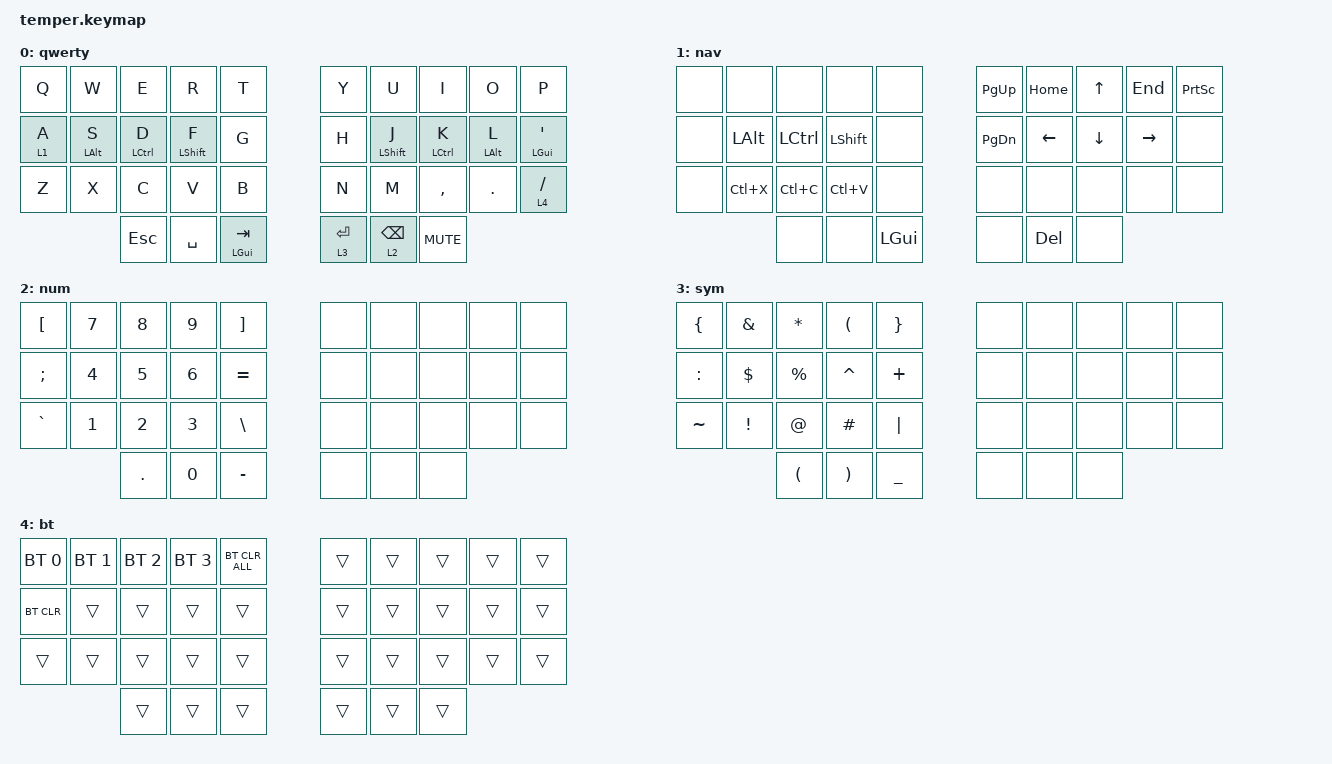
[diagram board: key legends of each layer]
/*
 * Copyright (c) 2020 The ZMK Contributors
 *
 * SPDX-License-Identifier: MIT
 */

 #include <behaviors.dtsi>
 #include <dt-bindings/zmk/keys.h>
 #include <dt-bindings/zmk/bt.h>
 #include <dt-bindings/zmk/outputs.h>
 
 #define QWERTY  0
 #define BT      1
 #define NUM     2
 #define NAV     3
 #define SYM     4
 
 # define ______ &trans
 
 / {
     /* (Conditional layers removed or adjusted as desired.
        The original first layout did not include conditional layers.) */
 
     behaviors {
         /* Behaviors from your first keymap, without labels */
         hm: homerow_mods {
             compatible = "zmk,behavior-hold-tap";
             #binding-cells = <2>;
             tapping-term-ms = <200>;
             quick-tap-ms = <0>;
             flavor = "balanced";
             bindings = <&kp>, <&kp>;
         };
 
         hmn: homerow_nav {
             compatible = "zmk,behavior-hold-tap";
             #binding-cells = <2>;
             tapping-term-ms = <200>;
             quick-tap-ms = <0>;
             flavor = "balanced";
             bindings = <&mo>, <&kp>;
         };
     };
 
     keymap {
         compatible = "zmk,keymap";
 
         qwerty {
             bindings = <
                 // Row 1: 10 keys (left 5 | right 5)
                 &kp Q         &kp W         &kp E         &kp R         &kp T             &kp Y         &kp U         &kp I         &kp O         &kp P
                 // Row 2: 10 keys
                 &hmn 1 A    &hm LALT S    &hm LCTRL D   &hm LSHFT F   &kp G             &kp H         &hm LSHFT J   &hm LCTRL K   &hm LALT L   &hm LGUI SQT
                 // Row 3: 10 keys
                 &kp Z       &kp X         &kp C         &kp V         &kp B             &kp N         &kp M         &kp COMMA    &kp DOT     &lt 4 FSLH
                 // Bottom row: 6 keys
                             &kp ESC      &kp SPACE     &mt LEFT_GUI TAB  &lt 3 ENTER   &lt 2 BACKSPACE  &kp K_MUTE
             >;
         };
 
         nav {
             bindings = <
                 // Row 1: 10 keys
                 &none       &none         &none         &none          &none         &kp PG_UP    &kp HOME    &kp UP      &kp END     &kp PRINTSCREEN
                 // Row 2: 10 keys
                 &none       &kp LEFT_ALT   &kp LCTRL     &kp LEFT_SHIFT  &none        &kp PG_DN    &kp LEFT    &kp DOWN   &kp RIGHT   &none
                 // Row 3: 10 keys
                 &none       &kp LC(X)      &kp LC(C)     &kp LC(V)       &none        &none       &none       &none      &none     &none
                 // Bottom row: 6 keys
                              &none       &none         &kp LEFT_GUI   &none       &kp DELETE   &none
             >;
         };
 
         num {
             bindings = <
                 // Row 1: 10 keys
                 &kp LBKT    &kp N7    &kp N8    &kp N9    &kp RBKT    &none    &none    &none    &none    &none
                 // Row 2: 10 keys
                 &kp SEMI    &kp N4    &kp N5    &kp N6    &kp EQUAL   &none    &none    &none    &none    &none
                 // Row 3: 10 keys
                 &kp GRAVE   &kp N1    &kp N2    &kp N3    &kp BSLH    &none    &none    &none    &none    &none
                 // Bottom row: 6 keys
                               &kp DOT    &kp N0    &kp MINUS   &none    &none    &none
             >;
         };
 
         sym {
             bindings = <
                 // Row 1: 10 keys
                 &kp LBRC    &kp AMPS    &kp STAR    &kp LPAR    &kp RBRC    &none    &none    &none    &none    &none
                 // Row 2: 10 keys
                 &kp COLON   &kp DOLLAR  &kp PRCNT   &kp CARET   &kp PLUS    &none    &none    &none    &none    &none
                 // Row 3: 10 keys
                 &kp TILDE   &kp EXCL    &kp AT      &kp POUND   &kp PIPE    &none    &none    &none    &none    &none
                 // Bottom row: 6 keys
                             &kp LPAR   &kp RPAR    &kp UNDER   &none    &none    &none
             >;
         };
 
         bt {
             bindings = <
                 // Row 1: 10 keys
                 &bt BT_SEL 0    &bt BT_SEL 1   &bt BT_SEL 2   &bt BT_SEL 3   &bt BT_CLR_ALL    &trans    &trans    &trans    &trans    &trans
                 // Row 2: 10 keys
                 &bt BT_CLR      &trans       &trans       &trans       &trans           &trans    &trans    &trans    &trans    &trans
                 // Row 3: 10 keys
                 &trans        &trans       &trans       &trans       &trans           &trans    &trans    &trans    &trans    &trans
                 // Bottom row: 6 keys
                               &trans       &trans       &trans         &trans    &trans    &trans
             >;
         };
     };
 };
 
